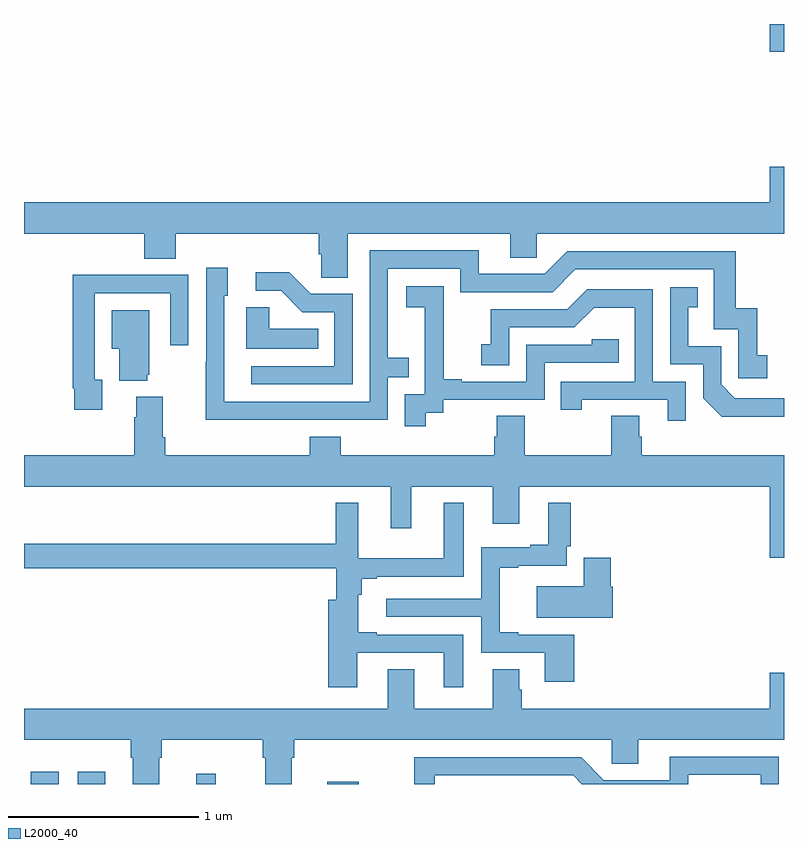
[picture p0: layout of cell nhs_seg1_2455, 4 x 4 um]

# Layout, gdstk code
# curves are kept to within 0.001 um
import gdstk
lib = gdstk.Library(unit=1e-6, precision=1e-09)
def R(c, l, rs):  # rectangles x0, y0, x1, y1
    for r in rs: c.add(gdstk.rectangle(r[:2], r[2:], *l))
def P(c, l, *ps):  # polygons
    for p in ps: c.add(gdstk.Polygon(p, *l))
L2000_40 = (2000, 40)

nhs_seg1_2455 = lib.new_cell('nhs_seg1_2455')
R(nhs_seg1_2455, L2000_40, [(245.036,518.199,245.182,518.263), (245.282,518.199,245.428,518.263), (245.906,518.199,246.008,518.254), (246.596,518.199,246.762,518.212), (248.924,522.054,249,522.199)])
P(nhs_seg1_2455, L2000_40, [(246.703,521.096),(247.559,521.096),(247.559,520.969),(247.698,520.969),(247.698,521.096),(249,521.096),(249,521.449),(248.924,521.449),(248.924,521.26),(245,521.26),(245,521.096),(245.633,521.096),(245.633,520.963),(245.798,520.963),(245.798,521.096),(246.551,521.096),(246.551,520.987),(246.564,520.987),(246.564,520.864),(246.703,520.864)],
  [(246.419,520.116),(246.915,520.116),(246.915,520.341),(247.025,520.341),(247.025,520.442),(246.915,520.442),(246.915,520.911),(247.296,520.911),(247.296,520.788),(247.782,520.788),(247.902,520.908),(248.631,520.908),(248.631,520.593),(248.76,520.593),(248.76,520.335),(248.911,520.335),(248.911,520.455),(248.858,520.455),(248.858,520.702),(248.747,520.702),(248.747,521.004),(247.86,521.004),(247.74,520.884),(247.393,520.884),(247.393,521.007),(246.819,521.007),(246.819,520.212),(246.054,520.212),(246.054,520.77),(246.073,520.77),(246.073,520.915),(245.958,520.915),(245.958,520.421),(245.956,520.421),(245.956,520.115)],
  [(246.729,520.779),(246.51,520.779),(246.397,520.892),(246.219,520.892),(246.219,520.794),(246.353,520.794),(246.464,520.683),(246.633,520.683),(246.633,520.398),(246.195,520.398),(246.195,520.302),(246.729,520.302)],
  [(245.413,520.326),(245.373,520.326),(245.373,520.782),(245.769,520.782),(245.769,520.509),(245.865,520.509),(245.865,520.878),(245.549,520.878),(245.549,520.88),(245.257,520.88),(245.257,520.282),(245.265,520.282),(245.265,520.17),(245.413,520.17)],
  [(247.114,520.153),(247.206,520.153),(247.206,520.221),(247.74,520.221),(247.74,520.416),(248.129,520.416),(248.129,520.539),(247.989,520.539),(247.989,520.512),(247.644,520.512),(247.644,520.317),(247.303,520.317),(247.303,520.33),(247.208,520.33),(247.208,520.613),(247.209,520.613),(247.209,520.819),(247.011,520.819),(247.011,520.709),(247.109,520.709),(247.109,520.481),(247.11,520.481),(247.11,520.251),(247.005,520.251),(247.005,520.083),(247.114,520.083)],
  [(249,520.23),(248.742,520.23),(248.67,520.302),(248.67,520.503),(248.497,520.503),(248.497,520.707),(248.546,520.707),(248.546,520.813),(248.4,520.813),(248.4,520.407),(248.574,520.407),(248.574,520.23),(248.672,520.133),(249,520.133)],
  [(248.484,520.317),(248.31,520.317),(248.31,520.803),(247.964,520.803),(247.859,520.698),(247.456,520.698),(247.456,520.513),(247.407,520.513),(247.407,520.404),(247.554,520.404),(247.554,520.602),(247.896,520.602),(248,520.706),(248.214,520.706),(248.214,520.317),(247.825,520.317),(247.825,520.17),(247.936,520.17),(247.936,520.221),(248.387,520.221),(248.387,520.11),(248.484,520.11)],
  [(246.548,520.594),(246.291,520.594),(246.291,520.709),(246.17,520.709),(246.17,520.49),(246.548,520.49)],
  [(245.648,520.353),(245.659,520.353),(245.659,520.693),(245.462,520.693),(245.462,520.49),(245.501,520.49),(245.501,520.322),(245.648,520.322)],
  [(249,519.928),(248.252,519.928),(248.252,520.026),(248.239,520.026),(248.239,520.136),(248.092,520.136),(248.092,519.928),(247.635,519.928),(247.635,520.136),(247.487,520.136),(247.487,520.026),(247.475,520.026),(247.475,519.928),(246.668,519.928),(246.668,520.027),(246.503,520.027),(246.503,519.928),(245.744,519.928),(245.744,520.024),(245.731,520.024),(245.731,520.237),(245.591,520.237),(245.591,520.13),(245.579,520.13),(245.579,519.928),(245,519.928),(245,519.764),(246.929,519.764),(246.929,519.546),(247.039,519.546),(247.039,519.764),(247.466,519.764),(247.466,519.57),(247.606,519.57),(247.606,519.764),(248.924,519.764),(248.924,519.39),(249,519.39)],
  [(247.895,518.985),(247.6,518.985),(247.6,518.998),(247.505,518.998),(247.505,519.336),(247.6,519.336),(247.6,519.348),(247.857,519.348),(247.857,519.451),(247.877,519.451),(247.877,519.679),(247.76,519.679),(247.76,519.457),(247.664,519.457),(247.664,519.444),(247.407,519.444),(247.407,519.174),(246.906,519.174),(246.906,519.078),(247.407,519.078),(247.407,518.889),(247.742,518.889),(247.742,518.736),(247.895,518.736)],
  [(246.754,518.889),(247.208,518.889),(247.208,518.709),(247.312,518.709),(247.312,518.985),(246.856,518.985),(246.856,518.998),(246.76,518.998),(246.76,519.194),(246.778,519.194),(246.778,519.279),(246.856,519.279),(246.856,519.291),(247.315,519.291),(247.315,519.679),(247.208,519.679),(247.208,519.388),(246.76,519.388),(246.76,519.679),(246.642,519.679),(246.642,519.463),(245,519.463),(245,519.334),(246.644,519.334),(246.644,519.169),(246.602,519.169),(246.602,518.709),(246.754,518.709)],
  [(248.099,519.237),(248.087,519.237),(248.087,519.391),(247.946,519.391),(247.946,519.241),(247.698,519.241),(247.698,519.074),(248.099,519.074)],
  [(245.713,518.336),(245.726,518.336),(245.726,518.432),(246.257,518.432),(246.257,518.336),(246.269,518.336),(246.269,518.199),(246.409,518.199),(246.409,518.336),(246.422,518.336),(246.422,518.432),(248.094,518.432),(248.094,518.305),(248.233,518.305),(248.233,518.432),(249,518.432),(249,518.785),(248.924,518.785),(248.924,518.596),(247.619,518.596),(247.619,518.694),(247.606,518.694),(247.606,518.804),(247.466,518.804),(247.466,518.596),(247.054,518.596),(247.054,518.804),(246.914,518.804),(246.914,518.596),(245,518.596),(245,518.432),(245.561,518.432),(245.561,518.336),(245.573,518.336),(245.573,518.199),(245.713,518.199)],
  [(247.161,518.244),(247.89,518.244),(247.935,518.199),(248.496,518.199),(248.496,518.247),(248.877,518.247),(248.877,518.199),(248.973,518.199),(248.973,518.343),(248.399,518.343),(248.399,518.22),(248.052,518.22),(247.932,518.34),(247.053,518.34),(247.053,518.199),(247.161,518.199)])

lib.write_gds('nhs_seg1_2455.gds')
